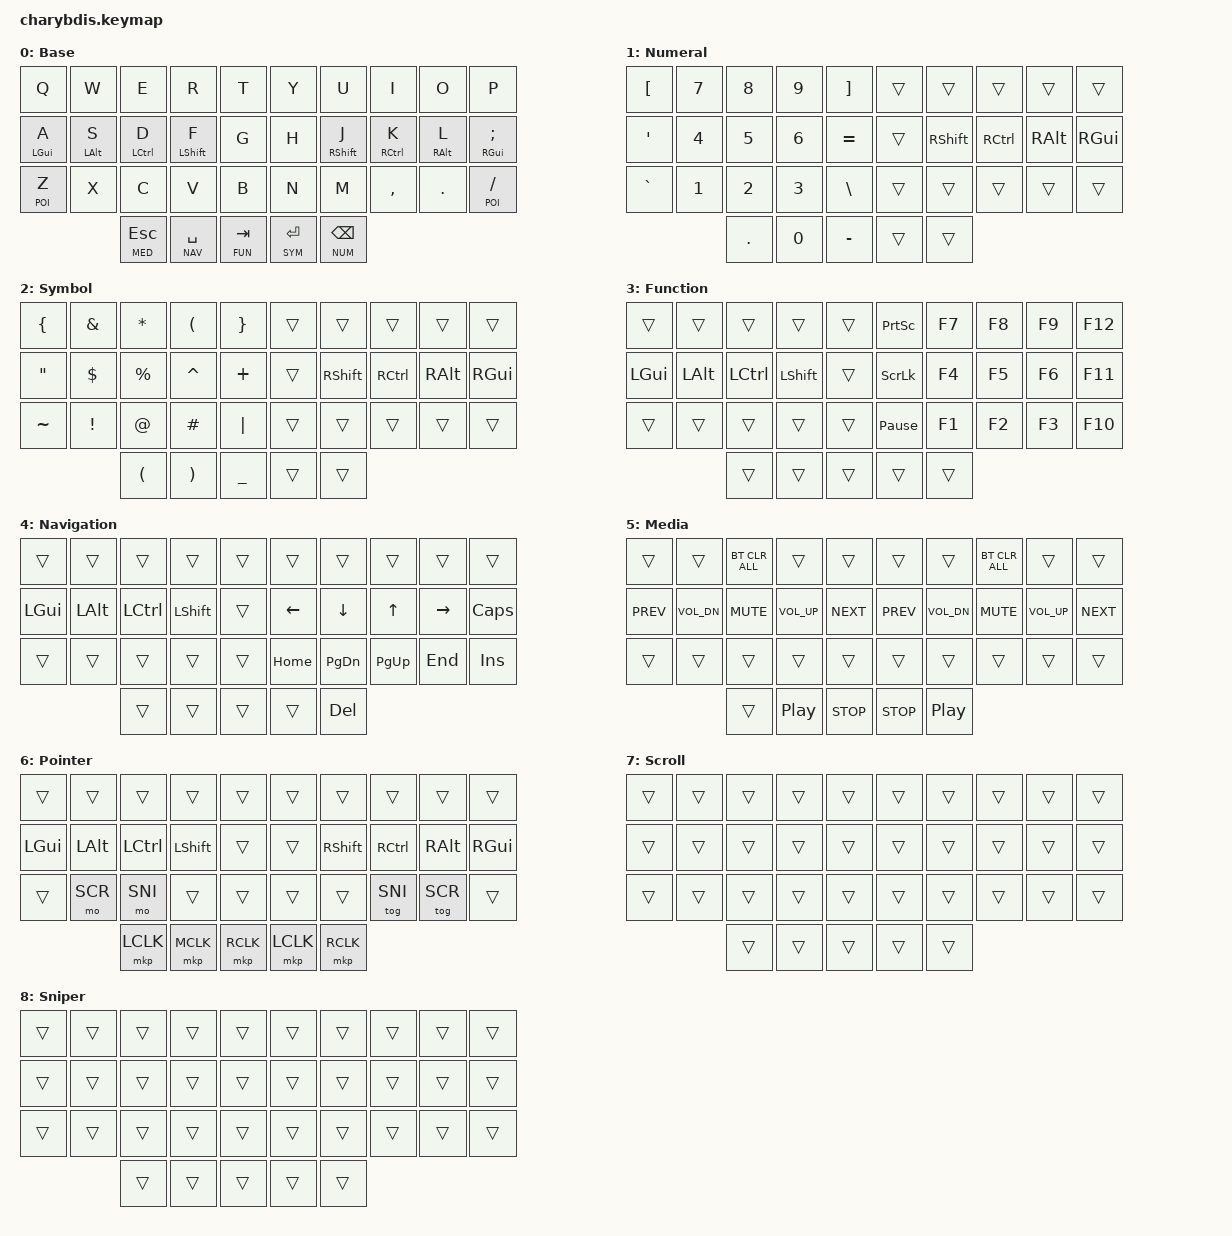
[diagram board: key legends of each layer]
#include <dt-bindings/zmk/mouse.h>
#include <behaviors/mouse_keys.dtsi>
#include <behaviors.dtsi>
#include <dt-bindings/zmk/bt.h>
#include <dt-bindings/zmk/keys.h>

#define NUM 1
#define SYM 2
#define FUN 3
#define NAV 4
#define MED 5
#define POI 6
#define SCR 7
#define SNI 8

&mt {
    tapping-term-ms = <200>;
    require-prior-idle-ms = <100>;
};

/ {
    chosen { zmk,matrix_transform = &five_column_transform; };

    combos { compatible = "zmk,combos"; };

    behaviors {
        hml: homewrow_mods_left {
            compatible = "zmk,behavior-hold-tap";
            label = "HOMEROW_MODS_LEFT_HAND";
            bindings = <&kp>, <&kp>;

            #binding-cells = <2>;
            tapping-term-ms = <280>;
            hold-trigger-key-positions = <5 6 7 8 9 15 16 17 18 19 25 26 27 28 29 33 34>;
            flavor = "balanced";
            quick-tap-ms = <175>;
            require-prior-idle-ms = <100>;
            hold-trigger-on-release;
        };

        hmr: homewrow_mods_right {
            compatible = "zmk,behavior-hold-tap";
            label = "HOMEROW_MODS_RIGHT_HAND";
            bindings = <&kp>, <&kp>;

            #binding-cells = <2>;
            tapping-term-ms = <280>;
            hold-trigger-key-positions = <0 1 2 3 4 10 11 12 13 14 20 21 22 23 24 30 31 32>;
            flavor = "balanced";
            quick-tap-ms = <175>;
            require-prior-idle-ms = <100>;
            hold-trigger-on-release;
        };
    };


    keymap {
        compatible = "zmk,keymap";
        Base {
            label = "Base";
            bindings = <
              &kp       Q  &kp       W  &kp        E  &kp        R  &kp T                &kp Y  &kp        U  &kp        I  &kp       O  &kp               P  
              &hml LGUI A  &hml LALT S  &hml LCTRL D  &hml LSHFT F  &kp G                &kp H  &hml RSHFT J  &hml RCTRL K  &hml RALT L  &hml RGUI SEMICOLON  
              &lt   POI Z  &kp       X  &kp        C  &kp        V  &kp B                &kp N  &kp        M  &kp    COMMA  &kp     DOT  &lt POI SLASH
                                        &lt MED ESC  &lt NAV SPACE  &lt FUN TAB   &lt SYM ENTER  &lt NUM BACKSPACE
            >;
        };

        Numeral {
            label = "Numeral";
            bindings = <
              &kp LBKT     &kp N7       &kp N8        &kp N9        &kp RBKT             &trans &trans        &trans        &trans       &trans  
              &kp APOS     &kp N4       &kp N5        &kp N6        &kp EQUAL            &trans &kp RSHFT     &kp RCTRL     &kp RALT     &kp RGUI  
              &kp GRAVE    &kp N1       &kp N2        &kp N3        &kp BSLH             &trans &trans        &trans        &trans       &trans  
                                                &kp DOT     &kp N0      &kp MINUS     &trans       &trans
            >;
        };

        Symbol {
            label = "Symbol";
            bindings = <
              &kp LBRC     &kp AMPS     &kp STAR      &kp LPAR      &kp RBRC             &trans &trans        &trans        &trans       &trans
              &kp DQT      &kp DLLR     &kp PRCNT     &kp CARET     &kp PLUS             &trans &kp RSHIFT    &kp RCTRL     &kp RALT     &kp RGUI
              &kp TILDE    &kp EXCL     &kp AT        &kp HASH      &kp PIPE             &trans &trans        &trans        &trans       &trans
                                                &kp LPAR    &kp RPAR     &kp UNDER     &trans       &trans
            >;
        };

        Function {
            label = "Function";
            bindings = <
              &trans       &trans       &trans        &trans        &trans               &kp PSCRN        &kp F7   &kp F8   &kp F9       &kp F12
              &kp LGUI     &kp LALT     &kp LCTRL     &kp LSHFT     &trans               &kp SLCK         &kp F4   &kp F5   &kp F6       &kp F11
              &trans       &trans       &trans        &trans        &trans               &kp PAUSE_BREAK  &kp F1   &kp F2   &kp F3       &kp F10
                                        &trans        &trans        &trans               &trans           &trans
            >;
        };

        Navigation {
            label = "Navigation";
            bindings = <
              &trans       &trans       &trans        &trans        &trans               &trans    &trans         &trans       &trans    &trans
              &kp LGUI     &kp LALT     &kp LCTRL     &kp LSHFT     &trans               &kp LEFT  &kp DOWN       &kp UP       &kp RIGHT &kp CAPSLOCK
              &trans       &trans       &trans        &trans        &trans               &kp HOME  &kp PAGE_DOWN  &kp PAGE_UP  &kp END   &kp INS
                                        &trans        &trans        &trans               &trans    &kp DELETE
            >;
        };

        Media {
            label = "Media";
            bindings = <
              &trans       &trans       &bt BT_CLR_ALL &trans       &trans               &trans      &trans        &bt BT_CLR_ALL  &trans        &trans
              &kp C_PREV   &kp C_VOL_DN &kp C_MUTE     &kp C_VOL_UP &kp C_NEXT           &kp C_PREV  &kp C_VOL_DN  &kp C_MUTE      &kp C_VOL_UP  &kp C_NEXT
              &trans       &trans       &trans         &trans       &trans               &trans      &trans        &trans          &trans        &trans
                                        &trans    &kp C_PLAY_PAUSE     &kp C_STOP     &kp C_STOP       &kp C_PLAY_PAUSE
            >;
        };

        Pointer {
            label = "Pointer";
            bindings = <
              &trans       &trans       &trans        &trans        &trans               &trans &trans        &trans        &trans       &trans
              &kp LGUI     &kp LALT     &kp LCTRL     &kp LSHFT     &trans               &trans &kp RSHFT     &kp RCTRL     &kp RALT     &kp RGUI
              &trans       &mo SCR      &mo SNI       &trans        &trans               &trans &trans        &tog SNI      &tog SCR     &trans
                                            &mkp LCLK  &mkp MCLK  &mkp RCLK         &mkp LCLK  &mkp RCLK
            >;
        };

        Scroll {
            label = "Scroll";
            bindings = <
                &trans  &trans  &trans  &trans  &trans    &trans  &trans  &trans  &trans  &trans
                &trans  &trans  &trans  &trans  &trans    &trans  &trans  &trans  &trans  &trans
                &trans  &trans  &trans  &trans  &trans    &trans  &trans  &trans  &trans  &trans
                                &trans  &trans  &trans    &trans  &trans
            >;
        };

        Sniper {
            label = "Sniper";
            bindings = <
                &trans  &trans  &trans  &trans  &trans    &trans  &trans  &trans  &trans  &trans
                &trans  &trans  &trans  &trans  &trans    &trans  &trans  &trans  &trans  &trans
                &trans  &trans  &trans  &trans  &trans    &trans  &trans  &trans  &trans  &trans
                                &trans  &trans  &trans    &trans  &trans
            >;
        };
    };
};
